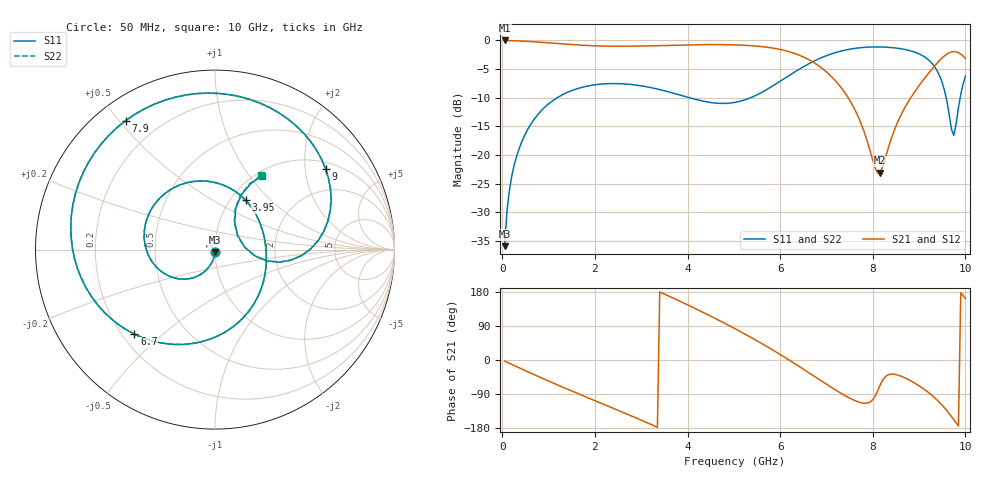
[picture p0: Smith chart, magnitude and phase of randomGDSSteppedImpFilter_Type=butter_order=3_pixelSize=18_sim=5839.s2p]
! freq	dB(S11)	phase(S11)	dB(S12)	phase(S12)
!  dB(S21)	phase(S21)	dB(S22)	phase(S22)
!S-par simulation data
#  GHz  S  DB  R 50
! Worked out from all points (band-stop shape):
!   200 points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, 50 MHz to 10 GHz, reference 50 ohm
!   highest |S21| = -0.01 dB at 50 MHz (marker M1); lowest = -23.1 dB at 8.15 GHz (marker M2)
!   |S21| within 3 dB of the highest: start of sweep to 6.533 GHz; 9.505 GHz to 9.984 GHz (478.4 MHz wide, 4.91 % of centre)
!   lowest |S11| = -35.9 dB at 50 MHz (marker M3), VSWR 1.03, Z = 49.9 - j1.6 ohm
!   |S11| at or under -10 dB: start of sweep to 1.184 GHz; 4.046 GHz to 5.359 GHz (1.313 GHz wide, 27.9 % of centre); 9.584 GHz to 9.887 GHz (303.4 MHz wide, 3.12 % of centre)
!   |S22| runs from -35.9 to -1.1 dB; largest |S21 - S12| = 0
!   S11 on the Smith chart (normalised r, x): 50 MHz: 1.00, -0.03; 3.95 GHz: 1.17, +0.72; 6.7 GHz: 0.25, -0.41; 7.9 GHz: 0.09, +0.52; 9 GHz: 1.20, +2.58; 10 GHz: 1.07, +1.15
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0.05  -35.87 -92.7  -0.01 -2.9  -0.01 -2.9  -35.87 -92.7
0.2  -23.85 -101.8  -0.04 -11.4  -0.04 -11.4  -23.85 -101.8
0.5  -16.27 -118.8  -0.14 -28.2  -0.14 -28.2  -16.27 -118.8
1.1  -10.45 -151.5  -0.48 -60.9  -0.48 -60.9  -10.45 -151.3
1.75  -8.12 174.7  -0.85 -94.5  -0.85 -94.5  -8.12 175.0
2.5  -7.53 136.6  -1.02 -132.6  -1.02 -132.6  -7.53 137.1
3.4  -8.57 89.1  -0.90 179.6  -0.90 179.6  -8.57 89.8
3.95  -9.78 58.2  -0.78 148.5  -0.78 148.5  -9.78 59.1
4.55  -10.88 22.5  -0.72 112.6  -0.72 112.6  -10.87 23.5
5.05  -10.77 -9.2  -0.78 81.0  -0.78 81.0  -10.76 -8.4
5.45  -9.68 -36.3  -0.96 54.2  -0.96 54.2  -9.68 -35.7
5.95  -7.38 -72.8  -1.49 18.4  -1.49 18.4  -7.38 -72.5
6.3  -5.58 -100.4  -2.24 -8.3  -2.24 -8.3  -5.58 -100.2
6.7  -3.73 -133.6  -3.73 -40.1  -3.73 -40.1  -3.73 -133.5
7.3  -1.88 175.0  -8.05 -86.8  -8.05 -86.8  -1.88 175.0
7.9  -1.17 124.6  -18.09 -113.1  -18.09 -113.1  -1.17 124.7
8.15  -1.14 104.4  -23.08 -68.6  -23.08 -68.6  -1.13 104.5
8.35  -1.21 88.4  -18.35 -38.4  -18.35 -38.4  -1.21 88.5
9  -2.35 36.1  -7.88 -68.2  -7.88 -68.2  -2.35 36.3
9.45  -6.30 -3.9  -3.44 -113.0  -3.44 -113.0  -6.30 -3.8
9.75  -16.55 31.0  -1.95 -157.6  -1.95 -157.6  -16.65 31.4
10  -6.23 57.4  -3.14 162.3  -3.14 162.3  -6.24 57.9
